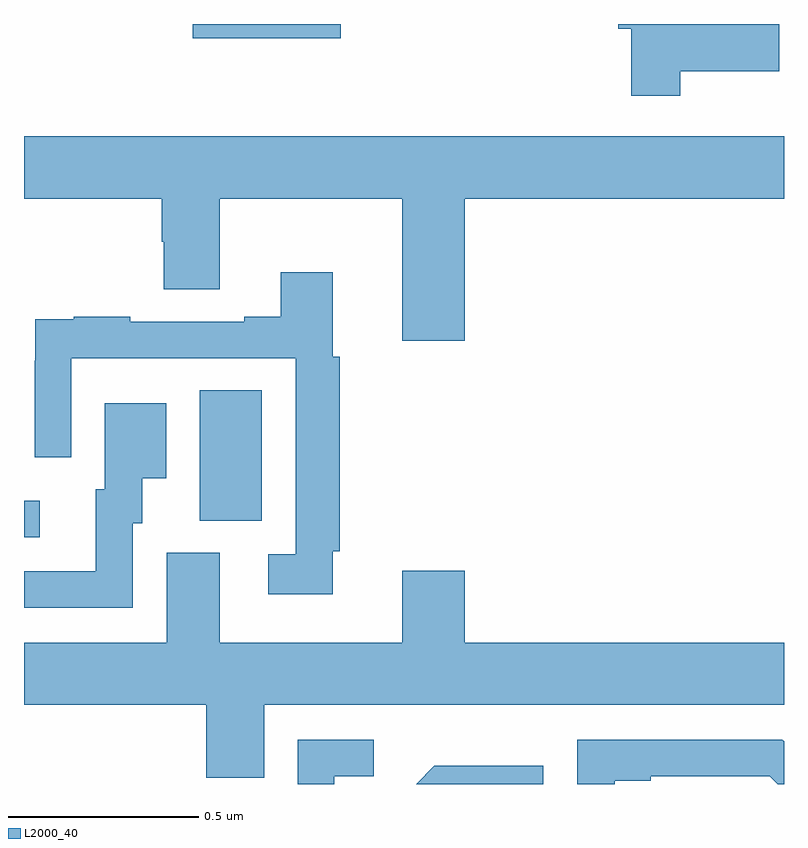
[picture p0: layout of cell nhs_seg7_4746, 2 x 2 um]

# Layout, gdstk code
import gdstk
lib = gdstk.Library(unit=1e-6, precision=1e-09)
def R(c, l, rs):  # rectangles x0, y0, x1, y1
    for r in rs: c.add(gdstk.rectangle(r[:2], r[2:], *l))
def P(c, l, *ps):  # polygons
    for p in ps: c.add(gdstk.Polygon(p, *l))
L2000_40 = (2000, 40)

nhs_seg7_4746 = lib.new_cell('nhs_seg7_4746')
R(nhs_seg7_4746, L2000_40, [(176,1075.65,176.041,1075.746), (176.462,1075.693,176.626,1076.036), (176.444,1076.963,176.833,1077)])
P(nhs_seg7_4746, L2000_40, [(177.727,1076.876),(177.988,1076.876),(177.988,1077),(177.564,1077),(177.564,1076.987),(177.598,1076.987),(177.598,1076.811),(177.727,1076.811)],
  [(177.16,1076.54),(178,1076.54),(178,1076.704),(176,1076.704),(176,1076.54),(176.363,1076.54),(176.363,1076.427),(176.368,1076.427),(176.368,1076.302),(176.515,1076.302),(176.515,1076.54),(176.996,1076.54),(176.996,1076.166),(177.16,1076.166)],
  [(176.813,1075.612),(176.831,1075.612),(176.831,1076.124),(176.813,1076.124),(176.813,1076.347),(176.675,1076.347),(176.675,1076.23),(176.579,1076.23),(176.579,1076.217),(176.279,1076.217),(176.279,1076.23),(176.131,1076.23),(176.131,1076.223),(176.029,1076.223),(176.029,1076.114),(176.028,1076.114),(176.028,1075.86),(176.124,1075.86),(176.124,1076.121),(176.715,1076.121),(176.715,1075.605),(176.643,1075.605),(176.643,1075.5),(176.813,1075.5)],
  [(176.286,1075.686),(176.311,1075.686),(176.311,1075.805),(176.374,1075.805),(176.374,1076.002),(176.213,1076.002),(176.213,1075.776),(176.189,1075.776),(176.189,1075.56),(176,1075.56),(176,1075.464),(176.286,1075.464)],
  [(176.632,1075.208),(178,1075.208),(178,1075.372),(177.16,1075.372),(177.16,1075.561),(176.996,1075.561),(176.996,1075.372),(176.515,1075.372),(176.515,1075.608),(176.375,1075.608),(176.375,1075.372),(176,1075.372),(176,1075.208),(176.48,1075.208),(176.48,1075.016),(176.632,1075.016)],
  [(177.555,1075.008),(177.649,1075.008),(177.649,1075.02),(177.963,1075.02),(177.983,1075),(178,1075),(178,1075.112),(177.996,1075.116),(177.456,1075.116),(177.456,1075),(177.555,1075)],
  [(176.817,1075.02),(176.92,1075.02),(176.92,1075.116),(176.721,1075.116),(176.721,1075),(176.817,1075)],
  [(177.367,1075.048),(177.079,1075.048),(177.032,1075),(177.367,1075)])

lib.write_gds('nhs_seg7_4746.gds')
